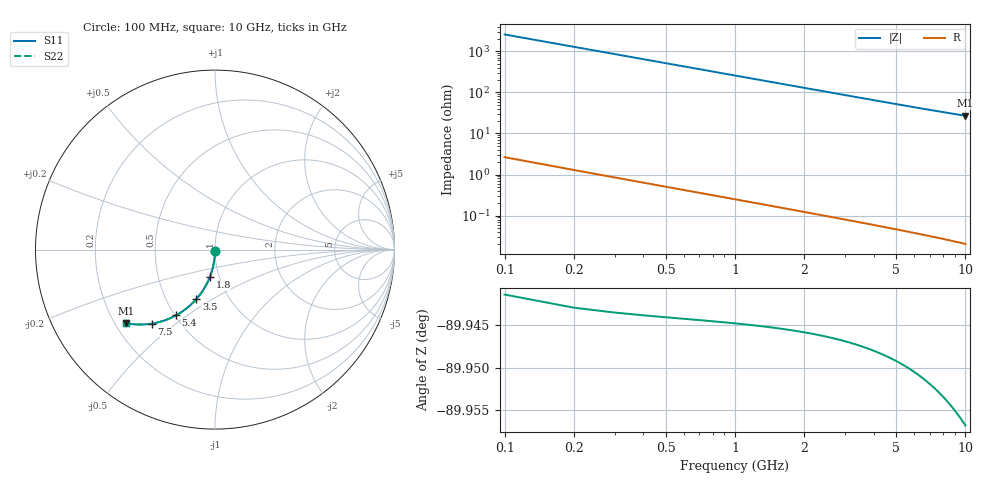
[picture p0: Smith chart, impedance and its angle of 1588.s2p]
# Hz S RI R 50.00
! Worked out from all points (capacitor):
!   100 points, 100 MHz to 10 GHz, reference 50 ohm
!   read as one part in shunt: C = 616 fF near 100 MHz
!   lowest |Z| = 27 ohm at 10 GHz (marker M1)
!   S11 on the Smith chart (normalised r, x): 100 MHz: 1.00, -0.02; 1.8 GHz: 0.90, -0.28; 3.5 GHz: 0.71, -0.43; 5.4 GHz: 0.51, -0.45; 7.5 GHz: 0.35, -0.41; 10 GHz: 0.24, -0.34
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1e8  0.000108 -0.00881  0.9997 -0.0105  0.9997 -0.0105  0.000108 -0.00881
2e8  -0.000178 -0.0176  0.9994 -0.0211  0.9994 -0.0211  -0.000178 -0.0176
3e8  -0.00065 -0.0264  0.9989 -0.0316  0.9989 -0.0316  -0.00065 -0.0264
4e8  -0.00131 -0.0352  0.9982 -0.0421  0.9982 -0.0421  -0.00131 -0.0352
5e8  -0.00215 -0.044  0.9974 -0.0526  0.9974 -0.0526  -0.00215 -0.044
6e8  -0.00318 -0.0527  0.9963 -0.0631  0.9963 -0.0631  -0.00318 -0.0527
8e8  -0.00577 -0.0701  0.9937 -0.0839  0.9937 -0.0839  -0.00577 -0.0701
1.1e9  -0.011 -0.0958  0.9884 -0.1148  0.9884 -0.1148  -0.011 -0.0958
1.4e9  -0.0178 -0.1211  0.9814 -0.1453  0.9814 -0.1453  -0.0178 -0.1211
1.8e9  -0.0293 -0.1538  0.9698 -0.1849  0.9698 -0.1849  -0.0293 -0.1538
2.1e9  -0.0395 -0.1775  0.9594 -0.2138  0.9594 -0.2138  -0.0395 -0.1775
2.5e9  -0.0552 -0.2076  0.9434 -0.2509  0.9434 -0.2509  -0.0552 -0.2076
2.9e9  -0.0731 -0.2361  0.9252 -0.2863  0.9252 -0.2863  -0.0731 -0.2361
3.4e9  -0.098 -0.2689  0.8998 -0.3279  0.8998 -0.3279  -0.098 -0.2689
3.5e9  -0.1033 -0.275  0.8943 -0.3358  0.8943 -0.3358  -0.1033 -0.275
4.3e9  -0.1488 -0.3196  0.8479 -0.3944  0.8479 -0.3944  -0.1488 -0.3196
5.1e9  -0.1982 -0.3553  0.7973 -0.4443  0.7973 -0.4443  -0.1982 -0.3553
5.4e9  -0.2174 -0.3664  0.7777 -0.4608  0.7777 -0.4608  -0.2174 -0.3664
6.7e9  -0.3015 -0.4011  0.6911 -0.5189  0.6911 -0.5189  -0.3015 -0.4011
7.5e9  -0.3524 -0.4124  0.6383 -0.5448  0.6383 -0.5448  -0.3524 -0.4124
8.4e9  -0.4073 -0.4173  0.581 -0.5664  0.581 -0.5664  -0.4073 -0.4173
1e10  -0.4964 -0.4098  0.4869 -0.5891  0.4869 -0.5891  -0.4964 -0.4098
